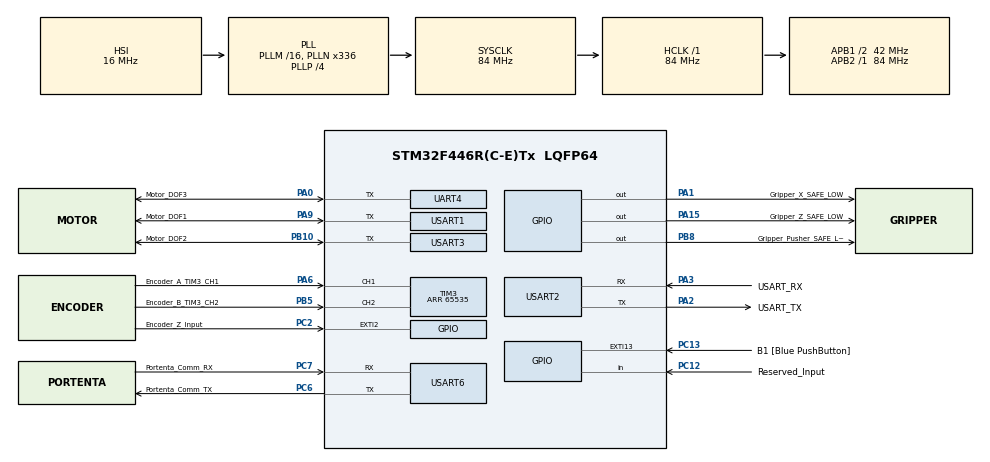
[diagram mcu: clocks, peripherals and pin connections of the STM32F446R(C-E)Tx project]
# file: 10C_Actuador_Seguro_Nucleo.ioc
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Dma.Request0=USART6_RX
Dma.USART6_RX.0.Direction=DMA_PERIPH_TO_MEMORY
Dma.USART6_RX.0.FIFOMode=DMA_FIFOMODE_DISABLE
Dma.USART6_RX.0.Instance=DMA2_Stream1
Dma.USART6_RX.0.MemDataAlignment=DMA_MDATAALIGN_BYTE
Dma.USART6_RX.0.MemInc=DMA_MINC_ENABLE
Dma.USART6_RX.0.Mode=DMA_CIRCULAR
Dma.USART6_RX.0.PeriphDataAlignment=DMA_PDATAALIGN_BYTE
Dma.USART6_RX.0.PeriphInc=DMA_PINC_DISABLE
Dma.USART6_RX.0.Priority=DMA_PRIORITY_LOW
Mcu.Family=STM32F4
Mcu.Name=STM32F446R(C-E)Tx
Mcu.Package=LQFP64
NVIC.DMA2_Stream1_IRQn=true\:0\:0\:false\:false\:true\:false\:true\:true
NVIC.EXTI2_IRQn=true\:5\:0\:false\:false\:true\:true\:true\:true
NVIC.PriorityGroup=NVIC_PRIORITYGROUP_0
NVIC.UART4_IRQn=true\:0\:0\:false\:false\:true\:true\:true\:true
NVIC.USART1_IRQn=true\:0\:0\:false\:false\:true\:true\:true\:true
NVIC.USART2_IRQn=true\:0\:0\:false\:false\:true\:true\:true\:true
NVIC.USART3_IRQn=true\:0\:0\:false\:false\:true\:true\:true\:true
NVIC.USART6_IRQn=true\:0\:0\:false\:false\:true\:true\:true\:true
PA0-WKUP.GPIO_Label=Motor_DOF3
PA0-WKUP.Mode=Half_duplex(single_wire_mode)
PA0-WKUP.Signal=UART4_TX
PA1.GPIO_Label=Gripper_X_SAFE_LOW
PA1.PinState=GPIO_PIN_RESET
PA1.Signal=GPIO_Output
PB8.GPIO_Label=Gripper_Pusher_SAFE_LOW
PB8.PinState=GPIO_PIN_RESET
PB8.Signal=GPIO_Output
PA13.GPIO_Label=TMS
PA13.Mode=Serial_Wire
PA13.Signal=SYS_JTMS-SWDIO
PA14.GPIO_Label=TCK
PA14.Mode=Serial_Wire
PA14.Signal=SYS_JTCK-SWCLK
PA15.GPIO_Label=Gripper_Z_SAFE_LOW
PA15.PinState=GPIO_PIN_RESET
PA15.Signal=GPIO_Output
PA2.GPIO_Label=USART_TX
PA2.Mode=Asynchronous
PA2.Signal=USART2_TX
PA3.GPIO_Label=USART_RX
PA3.Mode=Asynchronous
PA3.Signal=USART2_RX
PA6.GPIO_Label=Encoder_A_TIM3_CH1
PA6.GPIO_PuPd=GPIO_PULLUP
PA6.Signal=S_TIM3_CH1
PA9.GPIO_Label=Motor_DOF1
PA9.Mode=Half_duplex(single_wire_mode)
PA9.Signal=USART1_TX
PB10.GPIO_Label=Motor_DOF2
PB10.Mode=Half_duplex(single_wire_mode)
PB10.Signal=USART3_TX
PB5.GPIO_Label=Encoder_B_TIM3_CH2
PB5.GPIO_PuPd=GPIO_PULLUP
PB5.Signal=S_TIM3_CH2
PC12.GPIO_Label=Reserved_Input
PC12.GPIO_PuPd=GPIO_PULLDOWN
PC12.Signal=GPIO_Input
PC13.GPIO_Label=B1 [Blue PushButton]
PC13.GPIO_ModeDefaultEXTI=GPIO_MODE_IT_FALLING
PC13.Signal=GPXTI13
PC14-OSC32_IN.Mode=LSE-External-Oscillator
PC14-OSC32_IN.Signal=RCC_OSC32_IN
PC15-OSC32_OUT.Mode=LSE-External-Oscillator
PC15-OSC32_OUT.Signal=RCC_OSC32_OUT
PC2.GPIO_Label=Encoder_Z_Input
PC2.GPIO_ModeDefaultEXTI=GPIO_MODE_IT_FALLING
PC2.GPIO_PuPd=GPIO_PULLUP
PC2.Signal=GPXTI2
PC6.GPIO_Label=Portenta_Comm_TX
PC6.Mode=Asynchronous
PC6.Signal=USART6_TX
PC7.GPIO_Label=Portenta_Comm_RX
PC7.Mode=Asynchronous
PC7.Signal=USART6_RX
PH0-OSC_IN.Mode=HSE-External-Oscillator
PH0-OSC_IN.Signal=RCC_OSC_IN
PH1-OSC_OUT.Mode=HSE-External-Oscillator
PH1-OSC_OUT.Signal=RCC_OSC_OUT
ProjectManager.HeapSize=0x200
ProjectManager.StackSize=0x400
ProjectManager.TargetToolchain=STM32CubeIDE
RCC.48MHZClocksFreq_Value=84000000
RCC.AHBFreq_Value=84000000
RCC.APB1CLKDivider=RCC_HCLK_DIV2
RCC.APB1Freq_Value=42000000
RCC.APB1TimFreq_Value=84000000
RCC.APB2Freq_Value=84000000
RCC.APB2TimFreq_Value=84000000
RCC.FLatency-AdvancedSettings=FLASH_LATENCY_2
RCC.HCLKFreq_Value=84000000
RCC.HSE_VALUE=8000000
RCC.HSI_VALUE=16000000
RCC.PLLN=336
RCC.PLLP=RCC_PLLP_DIV4
RCC.SYSCLKFreq_VALUE=84000000
RCC.SYSCLKSource=RCC_SYSCLKSOURCE_PLLCLK
RCC.VCOOutputFreq_Value=336000000
SH.S_TIM3_CH1.0=TIM3_CH1,Encoder_Interface
SH.S_TIM3_CH2.0=TIM3_CH2,Encoder_Interface
TIM3.Channel-Encoder_Mode=TIM_CHANNEL_ALL
TIM3.EncoderMode=TIM_ENCODERMODE_TI12
TIM3.IC1Filter=6
TIM3.IC2Filter=6
TIM3.Period=65535
UART4.VirtualMode=Asynchronous
USART1.VirtualMode=VM_ASYNC
USART2.VirtualMode=VM_ASYNC
USART3.VirtualMode=VM_ASYNC
USART6.VirtualMode=VM_ASYNC
board=NUCLEO-F446RE

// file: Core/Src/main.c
/**
 * @file main.c
 * @brief Inicializacion y lazo principal de la Nucleo F446RE.
 * Configura reloj, GPIO, UART, PWM y encoder antes de atender la actuacion.
 * USART6 enlaza PC6 TX y PC7 RX con la Portenta a 115200.
 */
/* USER CODE BEGIN Header */
/**
  ******************************************************************************
  * @file           : main.c
  * @brief          : Main program body
  ******************************************************************************
  * @attention
  *
  * Copyright (c) 2026 STMicroelectronics.
  * All rights reserved.
  *
  * This software is licensed under terms that can be found in the LICENSE file
  * in the root directory of this software component.
  * If no LICENSE file comes with this software, it is provided AS-IS.
  *
  ******************************************************************************
  */
/* USER CODE END Header */
#include "main.h"

/* USER CODE BEGIN Includes */
#include <stdio.h>
#include <string.h>
#include "stream_actuator.h"
#include "belt_estimator.h"
/* USER CODE END Includes */

SPI_HandleTypeDef hspi1;
SPI_HandleTypeDef hspi2;
SPI_HandleTypeDef hspi3;

TIM_HandleTypeDef htim2;
TIM_HandleTypeDef htim3;

UART_HandleTypeDef huart4;
UART_HandleTypeDef huart5;
UART_HandleTypeDef huart1;
UART_HandleTypeDef huart2;
UART_HandleTypeDef huart3;
UART_HandleTypeDef huart6;
DMA_HandleTypeDef hdma_usart6_rx;

/* USER CODE BEGIN PV */
/* TIM3 cuenta A/B en hardware; Z se cuenta por EXTI. La posicion se reporta
   a 20 Hz durante STREAM para asociacion de pieza; Z sigue diagnostico. */
static volatile uint32_t encoderIndexEdges = 0u;
static uint16_t encoderLastCounter = 0u;
static int32_t encoderPositionX4 = 0;
static int32_t encoderLastPrintedX4 = 0;
static uint32_t encoderLastPrintMs = 0u;
static uint32_t encoderLastTelemetryMs = 0u;
static uint16_t encoderCachedSpeedTenths = 0u;
/* USER CODE END PV */

void SystemClock_Config(void);
static void MX_GPIO_Init(void);
static void MX_DMA_Init(void);
static void MX_USART2_UART_Init(void);
static void MX_SPI1_Init(void);
static void MX_SPI2_Init(void);
static void MX_SPI3_Init(void);
static void MX_UART4_Init(void);
static void MX_UART5_Init(void);
static void MX_USART1_UART_Init(void);
static void MX_USART3_UART_Init(void);
static void MX_USART6_UART_Init(void);
static void MX_TIM2_Init(void);
static void MX_TIM3_Init(void);

/* USER CODE BEGIN 0 */
// Redirigir printf a USART2 (Serial Monitor PC)
#ifdef __GNUC__
#define PUTCHAR_PROTOTYPE int __io_putchar(int ch)
#else
#define PUTCHAR_PROTOTYPE int fputc(int ch, FILE *f)
#endif

PUTCHAR_PROTOTYPE
{
  HAL_UART_Transmit(&huart2, (uint8_t *)&ch, 1, HAL_MAX_DELAY);
  return ch;
}

static uint16_t EncoderSamplePosition(void)
{
  /* La resta modular conserva el signo incluso al cruzar 0/65535. Se lee
     cada vuelta para evitar un wrap completo entre muestras. */
  const uint16_t counter = (uint16_t)__HAL_TIM_GET_COUNTER(&htim3);
  const int16_t delta = (int16_t)(uint16_t)(counter - encoderLastCounter);
  encoderLastCounter = counter;
  encoderPositionX4 = (int32_t)((uint32_t)encoderPositionX4 + (uint32_t)(int32_t)delta);
  return counter;
}

static void EncoderTelemetry_Loop(void)
{
  EncoderSamplePosition();
  const uint32_t now = HAL_GetTick();
  const uint32_t telemetryElapsedMs = now - encoderLastTelemetryMs;
  const uint32_t telemetryPeriodMs = StreamActuator_StreamActive() ? 50u : 1000u;
  if (telemetryElapsedMs >= telemetryPeriodMs) {
    if (StreamActuator_EncoderTelemetry(encoderPositionX4, encoderCachedSpeedTenths,
        telemetryElapsedMs > 65535u ? 65535u : (uint16_t)telemetryElapsedMs)) {
      /* Guardar el instante de la muestra realmente enviada, no el intento.
         Si UART/RX estan ocupados, reintentar en la siguiente vuelta con
         posicion nueva y dt real, sin esperar otros 50 ms ni crear rafagas. */
      encoderLastTelemetryMs = now;
    }
  }
}

static void EncoderDiagnostic_Loop(void)
{
  const uint16_t counter = EncoderSamplePosition();
  const uint32_t now = HAL_GetTick();
  const uint32_t elapsedMs = now - encoderLastPrintMs;
  if (elapsedMs < 1000u) return;
  encoderLastPrintMs = now;
  const int32_t intervalDelta = (int32_t)((uint32_t)encoderPositionX4 -
                                       (uint32_t)encoderLastPrintedX4);
  encoderLastPrintedX4 = encoderPositionX4;
  const uint16_t speedTenths = BeltSpeedTenths(intervalDelta, elapsedMs);
  encoderCachedSpeedTenths = speedTenths;
  char line[168];
  const int length = snprintf(line, sizeof(line),
      "[ENCODER] pos_x4=%ld delta_1s=%ld tim3=%u Z_pulses=%lu A=%u B=%u Z=%u speed_mm_s=%u.%u dt_ms=%lu D_mm=49\r\n",
      (long)encoderPositionX4, (long)intervalDelta, (unsigned)counter,
      (unsigned long)encoderIndexEdges,
      (unsigned)HAL_GPIO_ReadPin(GPIOA, GPIO_PIN_6),
      (unsigned)HAL_GPIO_ReadPin(GPIOB, GPIO_PIN_5),
      (unsigned)HAL_GPIO_ReadPin(GPIOC, GPIO_PIN_2),
      speedTenths / 10u, speedTenths % 10u, (unsigned long)elapsedMs);
  if (length > 0 && length < (int)sizeof(line)) {
    HAL_UART_Transmit(&huart2, (uint8_t *)line, (uint16_t)length, 20u);
  }
}
/* USER CODE END 0 */

int main(void)
{

  /* MCU Configuration--------------------------------------------------------*/

  /* Reset of all peripherals, Initializes the Flash interface and the Systick. */
  HAL_Init();

  /* Configure the system clock */
  SystemClock_Config();

  /* Initialize all configured peripherals */
  MX_GPIO_Init();
  MX_DMA_Init();
  MX_USART2_UART_Init();
  MX_UART4_Init();
  MX_USART1_UART_Init();
  MX_USART3_UART_Init();
  MX_USART6_UART_Init();
  MX_TIM3_Init();
  /* USER CODE BEGIN 2 */
  /* Etapa fisica 10: no transmite al arrancar. Los servos solo reciben una
     orden despues de la autorizacion, HOME y validaciones de la Portenta. */
  if (HAL_TIM_Encoder_Start(&htim3, TIM_CHANNEL_ALL) != HAL_OK)
  {
    Error_Handler();
  }
  encoderLastCounter = (uint16_t)__HAL_TIM_GET_COUNTER(&htim3);
  encoderLastPrintMs = HAL_GetTick();
  StreamActuator_Init(&huart6, &huart1, &huart3, &huart4, 0u);
  StreamActuator_SetEncoderService(EncoderTelemetry_Loop);
  /* USER CODE END 2 */

  /* Infinite loop */
  /* USER CODE BEGIN WHILE */
  while (1)
  {
    StreamActuator_Loop();
    EncoderDiagnostic_Loop();
    /* USER CODE END WHILE */

  }
}

void SystemClock_Config(void)
{
  RCC_OscInitTypeDef RCC_OscInitStruct = {0};
  RCC_ClkInitTypeDef RCC_ClkInitStruct = {0};

  /** Configure the main internal regulator output voltage
  */
  __HAL_RCC_PWR_CLK_ENABLE();
  __HAL_PWR_VOLTAGESCALING_CONFIG(PWR_REGULATOR_VOLTAGE_SCALE3);

  /** Initializes the RCC Oscillators according to the specified parameters
  * in the RCC_OscInitTypeDef structure.
  */
  RCC_OscInitStruct.OscillatorType = RCC_OSCILLATORTYPE_HSI;
  RCC_OscInitStruct.HSIState = RCC_HSI_ON;
  RCC_OscInitStruct.HSICalibrationValue = RCC_HSICALIBRATION_DEFAULT;
  RCC_OscInitStruct.PLL.PLLState = RCC_PLL_ON;
  RCC_OscInitStruct.PLL.PLLSource = RCC_PLLSOURCE_HSI;
  RCC_OscInitStruct.PLL.PLLM = 16;
  RCC_OscInitStruct.PLL.PLLN = 336;
  RCC_OscInitStruct.PLL.PLLP = RCC_PLLP_DIV4;
  RCC_OscInitStruct.PLL.PLLQ = 2;
  RCC_OscInitStruct.PLL.PLLR = 2;
  if (HAL_RCC_OscConfig(&RCC_OscInitStruct) != HAL_OK)
  {
    Error_Handler();
  }

  /** Initializes the CPU, AHB and APB buses clocks
  */
  RCC_ClkInitStruct.ClockType = RCC_CLOCKTYPE_HCLK|RCC_CLOCKTYPE_SYSCLK
                              |RCC_CLOCKTYPE_PCLK1|RCC_CLOCKTYPE_PCLK2;
  RCC_ClkInitStruct.SYSCLKSource = RCC_SYSCLKSOURCE_PLLCLK;
  RCC_ClkInitStruct.AHBCLKDivider = RCC_SYSCLK_DIV1;
  RCC_ClkInitStruct.APB1CLKDivider = RCC_HCLK_DIV2;
  RCC_ClkInitStruct.APB2CLKDivider = RCC_HCLK_DIV1;

  if (HAL_RCC_ClockConfig(&RCC_ClkInitStruct, FLASH_LATENCY_2) != HAL_OK)
  {
    Error_Handler();
  }
}

static void MX_SPI1_Init(void)
{

  /* SPI1 parameter configuration*/
  hspi1.Instance = SPI1;
  hspi1.Init.Mode = SPI_MODE_MASTER;
  hspi1.Init.Direction = SPI_DIRECTION_1LINE;
  hspi1.Init.DataSize = SPI_DATASIZE_16BIT;
  hspi1.Init.CLKPolarity = SPI_POLARITY_LOW;
  hspi1.Init.CLKPhase = SPI_PHASE_1EDGE;
  hspi1.Init.NSS = SPI_NSS_SOFT;
  hspi1.Init.BaudRatePrescaler = SPI_BAUDRATEPRESCALER_16;
  hspi1.Init.FirstBit = SPI_FIRSTBIT_MSB;
  hspi1.Init.TIMode = SPI_TIMODE_DISABLE;
  hspi1.Init.CRCCalculation = SPI_CRCCALCULATION_DISABLE;
  hspi1.Init.CRCPolynomial = 10;
  if (HAL_SPI_Init(&hspi1) != HAL_OK)
  {
    Error_Handler();
  }

}

static void MX_SPI2_Init(void)
{

  /* SPI2 parameter configuration*/
  hspi2.Instance = SPI2;
  hspi2.Init.Mode = SPI_MODE_MASTER;
  hspi2.Init.Direction = SPI_DIRECTION_1LINE;
  hspi2.Init.DataSize = SPI_DATASIZE_16BIT;
  hspi2.Init.CLKPolarity = SPI_POLARITY_LOW;
  hspi2.Init.CLKPhase = SPI_PHASE_1EDGE;
  hspi2.Init.NSS = SPI_NSS_SOFT;
  hspi2.Init.BaudRatePrescaler = SPI_BAUDRATEPRESCALER_8;
  hspi2.Init.FirstBit = SPI_FIRSTBIT_MSB;
  hspi2.Init.TIMode = SPI_TIMODE_DISABLE;
  hspi2.Init.CRCCalculation = SPI_CRCCALCULATION_DISABLE;
  hspi2.Init.CRCPolynomial = 10;
  if (HAL_SPI_Init(&hspi2) != HAL_OK)
  {
    Error_Handler();
  }

}

static void MX_SPI3_Init(void)
{

  /* SPI3 parameter configuration*/
  hspi3.Instance = SPI3;
  hspi3.Init.Mode = SPI_MODE_MASTER;
  hspi3.Init.Direction = SPI_DIRECTION_1LINE;
  hspi3.Init.DataSize = SPI_DATASIZE_16BIT;
  hspi3.Init.CLKPolarity = SPI_POLARITY_LOW;
  hspi3.Init.CLKPhase = SPI_PHASE_1EDGE;
  hspi3.Init.NSS = SPI_NSS_SOFT;
  hspi3.Init.BaudRatePrescaler = SPI_BAUDRATEPRESCALER_8;
  hspi3.Init.FirstBit = SPI_FIRSTBIT_MSB;
  hspi3.Init.TIMode = SPI_TIMODE_DISABLE;
  hspi3.Init.CRCCalculation = SPI_CRCCALCULATION_DISABLE;
  hspi3.Init.CRCPolynomial = 10;
  if (HAL_SPI_Init(&hspi3) != HAL_OK)
  {
    Error_Handler();
  }

}

static void MX_TIM2_Init(void)
{

  TIM_MasterConfigTypeDef sMasterConfig = {0};
  TIM_OC_InitTypeDef sConfigOC = {0};

  htim2.Instance = TIM2;
  htim2.Init.Prescaler = 83;
  htim2.Init.CounterMode = TIM_COUNTERMODE_UP;
  htim2.Init.Period = 19999;
  htim2.Init.ClockDivision = TIM_CLOCKDIVISION_DIV1;
  htim2.Init.AutoReloadPreload = TIM_AUTORELOAD_PRELOAD_DISABLE;
  if (HAL_TIM_PWM_Init(&htim2) != HAL_OK)
  {
    Error_Handler();
  }
  sMasterConfig.MasterOutputTrigger = TIM_TRGO_RESET;
  sMasterConfig.MasterSlaveMode = TIM_MASTERSLAVEMODE_DISABLE;
  if (HAL_TIMEx_MasterConfigSynchronization(&htim2, &sMasterConfig) != HAL_OK)
  {
    Error_Handler();
  }
  sConfigOC.OCMode = TIM_OCMODE_PWM1;
  sConfigOC.Pulse = 1500;
  sConfigOC.OCPolarity = TIM_OCPOLARITY_HIGH;
  sConfigOC.OCFastMode = TIM_OCFAST_DISABLE;
  if (HAL_TIM_PWM_ConfigChannel(&htim2, &sConfigOC, TIM_CHANNEL_1) != HAL_OK)
  {
    Error_Handler();
  }
  if (HAL_TIM_PWM_ConfigChannel(&htim2, &sConfigOC, TIM_CHANNEL_2) != HAL_OK)
  {
    Error_Handler();
  }
  HAL_TIM_MspPostInit(&htim2);

}

static void MX_TIM3_Init(void)
{
  TIM_Encoder_InitTypeDef sConfig = {0};
  TIM_MasterConfigTypeDef sMasterConfig = {0};

  htim3.Instance = TIM3;
  htim3.Init.Prescaler = 0;
  htim3.Init.CounterMode = TIM_COUNTERMODE_UP;
  htim3.Init.Period = 0xFFFF;
  htim3.Init.ClockDivision = TIM_CLOCKDIVISION_DIV1;
  htim3.Init.AutoReloadPreload = TIM_AUTORELOAD_PRELOAD_DISABLE;
  sConfig.EncoderMode = TIM_ENCODERMODE_TI12;
  sConfig.IC1Polarity = TIM_ICPOLARITY_RISING;
  sConfig.IC1Selection = TIM_ICSELECTION_DIRECTTI;
  sConfig.IC1Prescaler = TIM_ICPSC_DIV1;
  sConfig.IC1Filter = 6;
  sConfig.IC2Polarity = TIM_ICPOLARITY_RISING;
  sConfig.IC2Selection = TIM_ICSELECTION_DIRECTTI;
  sConfig.IC2Prescaler = TIM_ICPSC_DIV1;
  sConfig.IC2Filter = 6;
  if (HAL_TIM_Encoder_Init(&htim3, &sConfig) != HAL_OK)
  {
    Error_Handler();
  }
  sMasterConfig.MasterOutputTrigger = TIM_TRGO_RESET;
  sMasterConfig.MasterSlaveMode = TIM_MASTERSLAVEMODE_DISABLE;
  if (HAL_TIMEx_MasterConfigSynchronization(&htim3, &sMasterConfig) != HAL_OK)
  {
    Error_Handler();
  }
  __HAL_TIM_SET_COUNTER(&htim3, 0u);
}

static void MX_UART4_Init(void)
{

  huart4.Instance = UART4;
  huart4.Init.BaudRate = 115200;
  huart4.Init.WordLength = UART_WORDLENGTH_8B;
  huart4.Init.StopBits = UART_STOPBITS_1;
  huart4.Init.Parity = UART_PARITY_NONE;
  huart4.Init.Mode = UART_MODE_TX_RX;
  huart4.Init.HwFlowCtl = UART_HWCONTROL_NONE;
  huart4.Init.OverSampling = UART_OVERSAMPLING_16;
  if (HAL_HalfDuplex_Init(&huart4) != HAL_OK)
  {
    Error_Handler();
  }

}

static void MX_UART5_Init(void)
{

  huart5.Instance = UART5;
  huart5.Init.BaudRate = 115200;
  huart5.Init.WordLength = UART_WORDLENGTH_8B;
  huart5.Init.StopBits = UART_STOPBITS_1;
  huart5.Init.Parity = UART_PARITY_NONE;
  huart5.Init.Mode = UART_MODE_TX_RX;
  huart5.Init.HwFlowCtl = UART_HWCONTROL_NONE;
  huart5.Init.OverSampling = UART_OVERSAMPLING_16;
  if (HAL_HalfDuplex_Init(&huart5) != HAL_OK)
  {
    Error_Handler();
  }

}

static void MX_USART1_UART_Init(void)
{

  huart1.Instance = USART1;
  huart1.Init.BaudRate = 115200;
  huart1.Init.WordLength = UART_WORDLENGTH_8B;
  huart1.Init.StopBits = UART_STOPBITS_1;
  huart1.Init.Parity = UART_PARITY_NONE;
  huart1.Init.Mode = UART_MODE_TX_RX;
  huart1.Init.HwFlowCtl = UART_HWCONTROL_NONE;
  huart1.Init.OverSampling = UART_OVERSAMPLING_16;
  if (HAL_HalfDuplex_Init(&huart1) != HAL_OK)
  {
    Error_Handler();
  }

}

static void MX_USART2_UART_Init(void)
{

  huart2.Instance = USART2;
  huart2.Init.BaudRate = 115200;
  huart2.Init.WordLength = UART_WORDLENGTH_8B;
  huart2.Init.StopBits = UART_STOPBITS_1;
  huart2.Init.Parity = UART_PARITY_NONE;
  huart2.Init.Mode = UART_MODE_TX_RX;
  huart2.Init.HwFlowCtl = UART_HWCONTROL_NONE;
  huart2.Init.OverSampling = UART_OVERSAMPLING_16;
  if (HAL_UART_Init(&huart2) != HAL_OK)
  {
    Error_Handler();
  }

}

static void MX_USART3_UART_Init(void)
{

  huart3.Instance = USART3;
  huart3.Init.BaudRate = 115200;
  huart3.Init.WordLength = UART_WORDLENGTH_8B;
  huart3.Init.StopBits = UART_STOPBITS_1;
  huart3.Init.Parity = UART_PARITY_NONE;
  huart3.Init.Mode = UART_MODE_TX_RX;
  huart3.Init.HwFlowCtl = UART_HWCONTROL_NONE;
  huart3.Init.OverSampling = UART_OVERSAMPLING_16;
  if (HAL_HalfDuplex_Init(&huart3) != HAL_OK)
  {
    Error_Handler();
  }

}

static void MX_USART6_UART_Init(void)
{

  huart6.Instance = USART6;
  huart6.Init.BaudRate = 115200;
  huart6.Init.WordLength = UART_WORDLENGTH_8B;
  huart6.Init.StopBits = UART_STOPBITS_1;
  huart6.Init.Parity = UART_PARITY_NONE;
  huart6.Init.Mode = UART_MODE_TX_RX;
  huart6.Init.HwFlowCtl = UART_HWCONTROL_NONE;
  huart6.Init.OverSampling = UART_OVERSAMPLING_16;
  if (HAL_UART_Init(&huart6) != HAL_OK)
  {
    Error_Handler();
  }

}

static void MX_DMA_Init(void)
{

  /* DMA controller clock enable */
  __HAL_RCC_DMA2_CLK_ENABLE();

  /* DMA interrupt init */
  /* DMA2_Stream1_IRQn interrupt configuration */
  HAL_NVIC_SetPriority(DMA2_Stream1_IRQn, 0, 0);
  HAL_NVIC_EnableIRQ(DMA2_Stream1_IRQn);

}

static void MX_GPIO_Init(void)
{
  GPIO_InitTypeDef GPIO_InitStruct = {0};

  /* GPIO Ports Clock Enable */
  __HAL_RCC_GPIOC_CLK_ENABLE();
  __HAL_RCC_GPIOH_CLK_ENABLE();
  __HAL_RCC_GPIOA_CLK_ENABLE();
  __HAL_RCC_GPIOB_CLK_ENABLE();

  /* Arranque RC seguro: PA1/PA15/PB8 LOW. PWM solo tras GRIP_BEGIN. */
  HAL_GPIO_WritePin(GPIOA, GPIO_PIN_1|GPIO_PIN_15, GPIO_PIN_RESET);
  HAL_GPIO_WritePin(GPIOB, GPIO_PIN_8, GPIO_PIN_RESET);

  /*Configure GPIO pin : B1_Pin */
  GPIO_InitStruct.Pin = B1_Pin;
  GPIO_InitStruct.Mode = GPIO_MODE_IT_FALLING;
  GPIO_InitStruct.Pull = GPIO_NOPULL;
  HAL_GPIO_Init(B1_GPIO_Port, &GPIO_InitStruct);

  GPIO_InitStruct.Pin = GPIO_PIN_1|GPIO_PIN_15;
  GPIO_InitStruct.Mode = GPIO_MODE_OUTPUT_PP;
  GPIO_InitStruct.Pull = GPIO_NOPULL;
  GPIO_InitStruct.Speed = GPIO_SPEED_FREQ_LOW;
  HAL_GPIO_Init(GPIOA, &GPIO_InitStruct);
  GPIO_InitStruct.Pin = GPIO_PIN_8;
  HAL_GPIO_Init(GPIOB, &GPIO_InitStruct);

  /* Pulso de indice Z: flanco descendente del colector abierto. */
  GPIO_InitStruct.Pin = GPIO_PIN_2;
  GPIO_InitStruct.Mode = GPIO_MODE_IT_FALLING;
  GPIO_InitStruct.Pull = GPIO_PULLUP;
  HAL_GPIO_Init(GPIOC, &GPIO_InitStruct);

  HAL_NVIC_SetPriority(EXTI2_IRQn, 5, 0);
  HAL_NVIC_EnableIRQ(EXTI2_IRQn);

  /* Reserva PC12: entrada con pull-down, UART5 deshabilitado. */
  GPIO_InitStruct.Pin = GPIO_PIN_12;
  GPIO_InitStruct.Mode = GPIO_MODE_INPUT;
  GPIO_InitStruct.Pull = GPIO_PULLDOWN;
  HAL_GPIO_Init(GPIOC, &GPIO_InitStruct);

}

/* USER CODE BEGIN 4 */
void HAL_GPIO_EXTI_Callback(uint16_t GPIO_Pin) {
  if (GPIO_Pin == GPIO_PIN_2) ++encoderIndexEdges;
}

void HAL_UART_RxCpltCallback(UART_HandleTypeDef *huart) {
  StreamActuator_OnRxComplete(huart);
}

void HAL_UART_ErrorCallback(UART_HandleTypeDef *huart) {
  StreamActuator_OnUartError(huart);
}
/* USER CODE END 4 */

void Error_Handler(void)
{
  __disable_irq();
  while (1)
  {
  }
}
